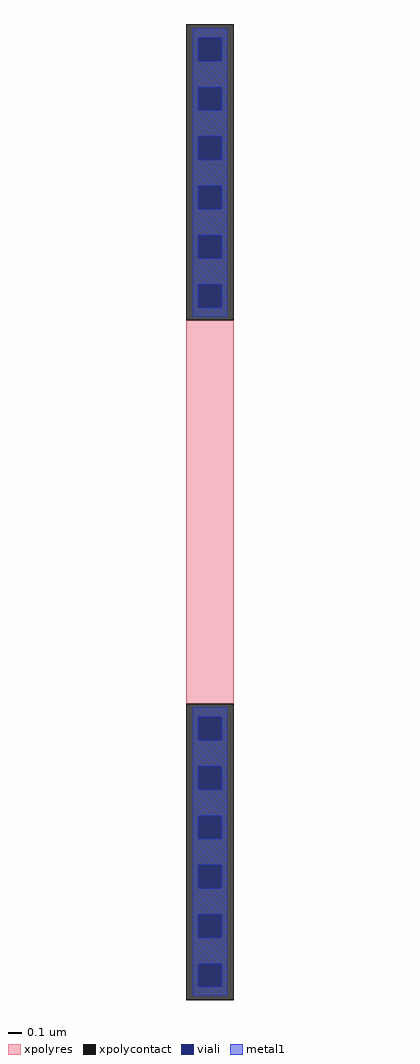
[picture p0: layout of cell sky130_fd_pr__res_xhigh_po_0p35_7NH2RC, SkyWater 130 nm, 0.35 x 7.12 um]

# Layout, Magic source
magic
tech sky130A
magscale 1 2
<< xpolycontact >>
rect -35 280 35 712
rect -35 -712 35 -280
<< xpolyres >>
rect -35 -280 35 280
<< viali >>
rect -17 658 17 692
rect -17 586 17 620
rect -17 514 17 548
rect -17 442 17 476
rect -17 370 17 404
rect -17 298 17 332
rect -17 -333 17 -299
rect -17 -405 17 -371
rect -17 -477 17 -443
rect -17 -549 17 -515
rect -17 -621 17 -587
rect -17 -693 17 -659
<< metal1 >>
rect -25 692 25 706
rect -25 658 -17 692
rect 17 658 25 692
rect -25 620 25 658
rect -25 586 -17 620
rect 17 586 25 620
rect -25 548 25 586
rect -25 514 -17 548
rect 17 514 25 548
rect -25 476 25 514
rect -25 442 -17 476
rect 17 442 25 476
rect -25 404 25 442
rect -25 370 -17 404
rect 17 370 25 404
rect -25 332 25 370
rect -25 298 -17 332
rect 17 298 25 332
rect -25 285 25 298
rect -25 -299 25 -285
rect -25 -333 -17 -299
rect 17 -333 25 -299
rect -25 -371 25 -333
rect -25 -405 -17 -371
rect 17 -405 25 -371
rect -25 -443 25 -405
rect -25 -477 -17 -443
rect 17 -477 25 -443
rect -25 -515 25 -477
rect -25 -549 -17 -515
rect 17 -549 25 -515
rect -25 -587 25 -549
rect -25 -621 -17 -587
rect 17 -621 25 -587
rect -25 -659 25 -621
rect -25 -693 -17 -659
rect 17 -693 25 -659
rect -25 -706 25 -693
<< end >>
